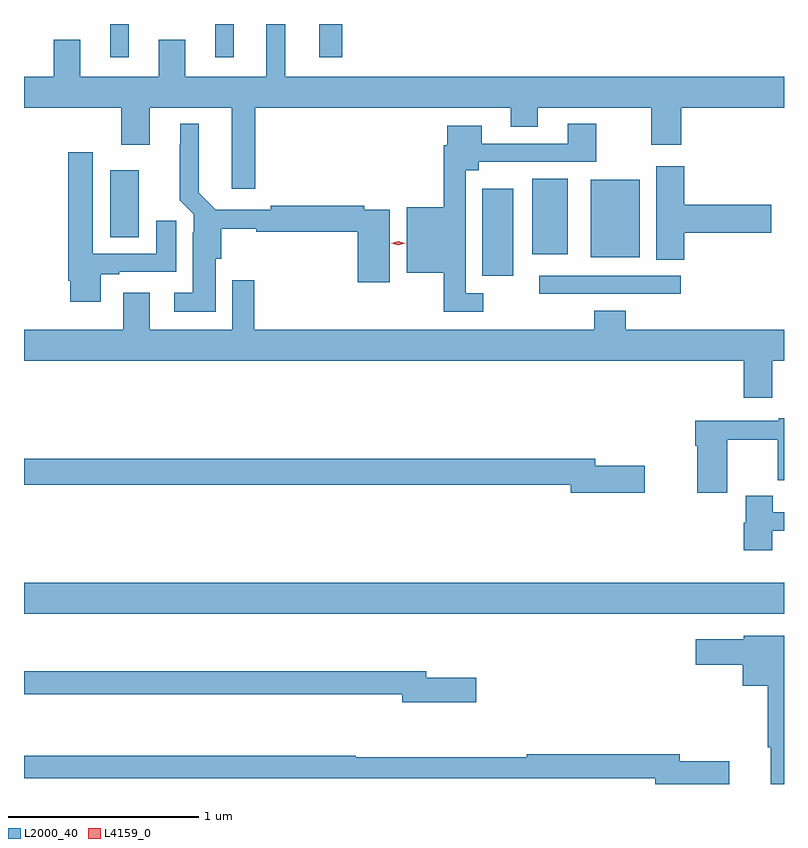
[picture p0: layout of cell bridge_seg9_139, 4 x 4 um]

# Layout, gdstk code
import gdstk
lib = gdstk.Library(unit=1e-6, precision=1e-09)
def R(c, l, rs):  # rectangles x0, y0, x1, y1
    for r in rs: c.add(gdstk.rectangle(r[:2], r[2:], *l))
def P(c, l, *ps):  # polygons
    for p in ps: c.add(gdstk.Polygon(p, *l))
L2000_40 = (2000, 40)
L4159_0 = (4159, 0)

bridge_seg9_139 = lib.new_cell('bridge_seg9_139')
R(bridge_seg9_139, L2000_40, [(434.86,1193.756,438.86,1193.92), (437.571,1195.44,438.316,1195.536), (437.273,1195.535,437.434,1195.993), (437.843,1195.634,438.1,1196.041), (437.534,1195.649,437.722,1196.047), (435.314,1195.738,435.463,1196.092), (435.314,1196.685,435.412,1196.861), (435.866,1196.685,435.964,1196.861), (436.415,1196.685,436.534,1196.861)])
P(bridge_seg9_139, L2000_40, [(436.076,1196.42),(437.423,1196.42),(437.423,1196.321),(437.563,1196.321),(437.563,1196.42),(438.16,1196.42),(438.16,1196.226),(438.32,1196.226),(438.32,1196.42),(438.86,1196.42),(438.86,1196.584),(436.235,1196.584),(436.235,1196.861),(436.136,1196.861),(436.136,1196.584),(435.709,1196.584),(435.709,1196.779),(435.569,1196.779),(435.569,1196.584),(435.157,1196.584),(435.157,1196.779),(435.017,1196.779),(435.017,1196.584),(434.86,1196.584),(434.86,1196.42),(435.371,1196.42),(435.371,1196.226),(435.523,1196.226),(435.523,1196.42),(435.953,1196.42),(435.953,1195.995),(436.076,1195.995)],
  [(435.868,1195.626),(435.899,1195.626),(435.899,1195.783),(436.082,1195.783),(436.082,1195.768),(436.616,1195.768),(436.616,1195.503),(436.786,1195.503),(436.786,1195.884),(436.652,1195.884),(436.652,1195.904),(436.159,1195.904),(436.159,1195.884),(435.868,1195.884),(435.781,1195.972),(435.781,1196.335),(435.683,1196.335),(435.683,1196.225),(435.679,1196.225),(435.679,1195.934),(435.753,1195.86),(435.753,1195.766),(435.749,1195.766),(435.749,1195.447),(435.651,1195.447),(435.651,1195.346),(435.868,1195.346)],
  [(437.278,1195.444),(437.185,1195.444),(437.185,1195.793),(437.184,1195.793),(437.184,1196.09),(437.254,1196.09),(437.254,1196.136),(437.871,1196.136),(437.871,1196.335),(437.723,1196.335),(437.723,1196.232),(437.269,1196.232),(437.269,1196.326),(437.087,1196.326),(437.087,1196.222),(437.068,1196.222),(437.068,1195.897),(436.874,1195.897),(436.874,1195.553),(437.068,1195.553),(437.068,1195.347),(437.278,1195.347)],
  [(435.265,1195.545),(435.361,1195.545),(435.361,1195.557),(435.661,1195.557),(435.661,1195.825),(435.557,1195.825),(435.557,1195.653),(435.223,1195.653),(435.223,1196.185),(435.092,1196.185),(435.092,1195.51),(435.104,1195.51),(435.104,1195.398),(435.265,1195.398)],
  [(438.335,1195.763),(438.793,1195.763),(438.793,1195.91),(438.335,1195.91),(438.335,1196.113),(438.188,1196.113),(438.188,1195.621),(438.335,1195.621)],
  [(438.799,1195.088),(438.86,1195.088),(438.86,1195.252),(438.026,1195.252),(438.026,1195.351),(437.861,1195.351),(437.861,1195.252),(436.073,1195.252),(436.073,1195.513),(435.957,1195.513),(435.957,1195.252),(435.523,1195.252),(435.523,1195.447),(435.383,1195.447),(435.383,1195.252),(434.86,1195.252),(434.86,1195.088),(438.647,1195.088),(438.647,1194.894),(438.799,1194.894)],
  [(438.562,1194.673),(438.826,1194.673),(438.826,1194.461),(438.86,1194.461),(438.86,1194.787),(438.833,1194.787),(438.833,1194.774),(438.392,1194.774),(438.392,1194.641),(438.404,1194.641),(438.404,1194.393),(438.562,1194.393)],
  [(438.127,1194.536),(437.866,1194.536),(437.866,1194.572),(434.86,1194.572),(434.86,1194.436),(437.738,1194.436),(437.738,1194.394),(438.127,1194.394)],
  [(438.799,1194.195),(438.86,1194.195),(438.86,1194.292),(438.802,1194.292),(438.802,1194.379),(438.659,1194.379),(438.659,1194.237),(438.647,1194.237),(438.647,1194.09),(438.799,1194.09)],
  [(438.86,1193.641),(438.648,1193.641),(438.648,1193.623),(438.396,1193.623),(438.396,1193.489),(438.644,1193.489),(438.644,1193.378),(438.774,1193.378),(438.774,1193.054),(438.791,1193.054),(438.791,1192.861),(438.86,1192.861)],
  [(437.239,1193.421),(436.978,1193.421),(436.978,1193.455),(434.86,1193.455),(434.86,1193.334),(436.85,1193.334),(436.85,1193.291),(437.239,1193.291)],
  [(438.571,1192.982),(438.31,1192.982),(438.31,1193.018),(437.506,1193.018),(437.506,1193.003),(436.606,1193.003),(436.606,1193.011),(434.86,1193.011),(434.86,1192.89),(438.182,1192.89),(438.182,1192.861),(438.571,1192.861)])
P(bridge_seg9_139, L4159_0, [(436.83,1195.697),(436.792,1195.707),(436.792,1195.707),(436.792,1195.708),(436.83,1195.717),(436.867,1195.708),(436.868,1195.707),(436.867,1195.707)])

lib.write_gds('bridge_seg9_139.gds')
